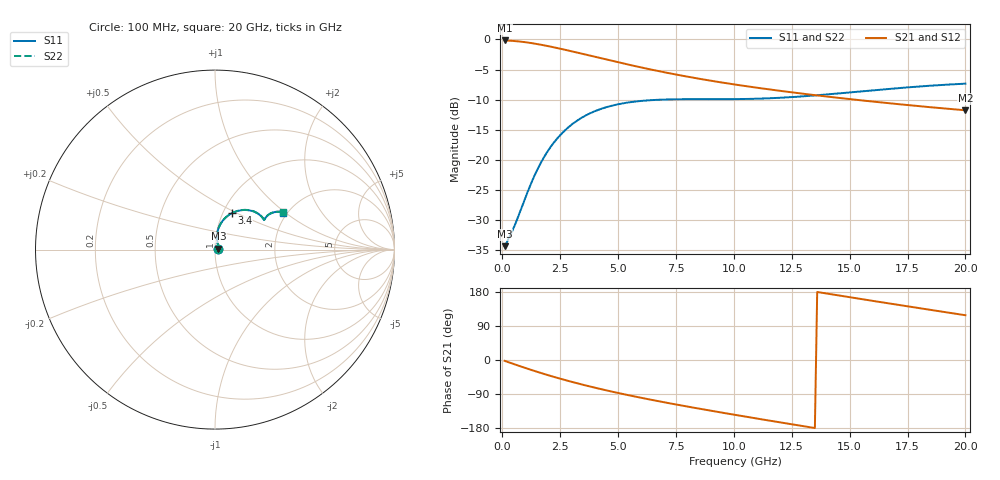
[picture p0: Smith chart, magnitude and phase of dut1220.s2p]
! Touchstone file exported from HFSS 2024.1.0
!  File:  C:/UserFiles/LocalFiles/RDL_TSV_Batchsim/temp_RDL_TSV_1220_1780261976.aedt
!  Generated:  05:27:55 AM Jun  1, 2026
!  Design:  RDL_TSV
!  Project:  temp_RDL_TSV_1220_1780261976
!  Setup:  Setup1
!  Solution:  Sweep
! Variables:
!  dtsv = 9.72um
!  hbump = 3um
!  htsv = 97.35um
!  ldown = 216.9um
!  lrdl = 649.65um
!  p = 40
!  p1 = 55.36um
!  rhole = 10um
!  subl = 3249.3um
!  t = 450um
!  tdown = 3.05um
!  trdl = 4.33um
!  viad = 10um
!  wdown = 16.96um
!  wrdl = 15.6um
!  xbump = 18um
# GHz S MA R 50.000000
! Terminal data exported
! Port[1] = TM1_1_T1
! Port[2] = TM1_4_T1
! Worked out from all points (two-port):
!   200 points, 100 MHz to 20 GHz, reference 50 ohm
!   highest |S21| = -0.17 dB at 100 MHz (marker M1); lowest = -11.8 dB at 20 GHz (marker M2)
!   |S21| within 3 dB of the highest: start of sweep to 4.31 GHz
!   lowest |S11| = -34.4 dB at 100 MHz (marker M3), VSWR 1.04, Z = 51.9 + j0.467 ohm
!   |S11| at or under -10 dB: start of sweep to 6.913 GHz
!   |S22| runs from -34.4 to -7.3 dB; largest |S21 - S12| = 9.2e-14
!   S11 on the Smith chart (normalised r, x): 100 MHz: 1.04, +0.01; 3.4 GHz: 1.10, +0.47; 20 GHz: 1.89, +0.96
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0.1  0.01914 13.6  0.9809 -2.2  0.9809 -2.2  0.01914 13.6
! Gamma 0 0 0 0
! Port Impedance 50 0 50 0
0.5  0.02743 50.3  0.9713 -10.8  0.9713 -10.8  0.02742 50.4
0.9  0.04322 71.9  0.9538 -19.1  0.9538 -19.1  0.04324 72.0
1.4  0.07445 81.6  0.9233 -29.1  0.9233 -29.1  0.07454 81.7
1.8  0.1048 81.8  0.8941 -36.8  0.8941 -36.8  0.105 81.9
2.1  0.1287 79.8  0.8706 -42.3  0.8706 -42.3  0.129 79.9
2.5  0.1601 75.9  0.8381 -49.3  0.8381 -49.3  0.1605 76.0
2.9  0.1895 71.3  0.8051 -56.0  0.8051 -56.0  0.1899 71.4
3.4  0.2218 65.4  0.7644 -64.0  0.7644 -64.0  0.2223 65.5
3.5  0.2277 64.3  0.7565 -65.6  0.7565 -65.6  0.2282 64.4
4.2  0.2621 56.7  0.7025 -76.0  0.7025 -76.0  0.2627 56.7
5.1  0.2917 48.4  0.6398 -88.3  0.6398 -88.3  0.2924 48.5
5.9  0.307 42.6  0.5908 -98.6  0.5908 -98.6  0.3078 42.7
6.8  0.3156 37.7  0.5432 -109.4  0.5432 -109.4  0.3164 37.8
8.4  0.3189 32.6  0.4752 -127.3  0.4752 -127.3  0.3198 32.6
10.1  0.3192 31.0  0.4206 -145.3  0.4206 -145.3  0.3201 31.1
11.7  0.3255 31.6  0.3806 -161.6  0.3806 -161.6  0.3264 31.7
13.4  0.3413 32.7  0.3463 -178.6  0.3463 -178.6  0.3424 32.8
15.1  0.3644 33.0  0.3178 164.7  0.3178 164.7  0.3655 33.2
16.7  0.3882 32.3  0.2951 149.3  0.2951 149.3  0.3895 32.5
18.3  0.4103 30.8  0.2756 134.1  0.2756 134.1  0.4118 30.9
20  0.4291 28.7  0.2578 118.1  0.2578 118.1  0.4307 28.8
